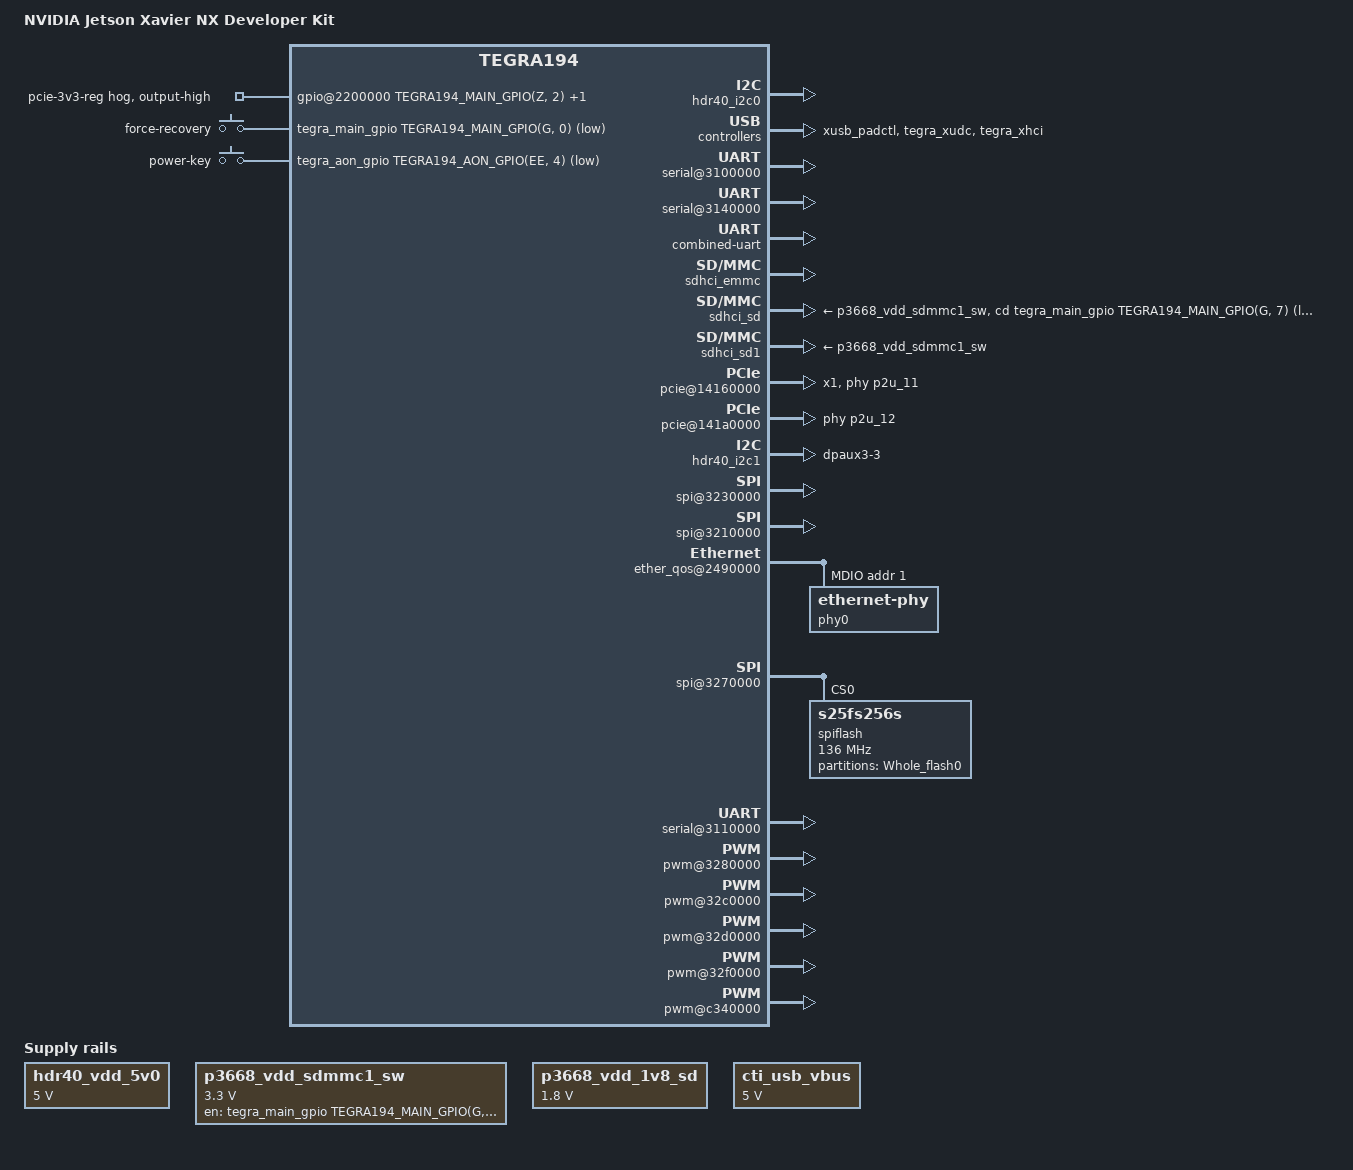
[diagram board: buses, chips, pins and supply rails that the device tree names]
/*
 * Top level DTS file for CVM:P3668-0001 and CVB:P3509-0000.
 *
 * Copyright (c) 2019-2020, NVIDIA CORPORATION.  All rights reserved.
 *
 * This program is free software; you can redistribute it and/or modify
 * it under the terms of the GNU General Public License as published by
 * the Free Software Foundation; version 2 of the License.
 *
 * This program is distributed in the hope that it will be useful, but WITHOUT
 * ANY WARRANTY; without even the implied warranty of MERCHANTABILITY or
 * FITNESS FOR A PARTICULAR PURPOSE.  See the GNU General Public License for
 * more details.
 */
 
 
/dts-v1/;

#include "dt-bindings/input/input.h"
#include "dt-bindings/extcon-ids.h"
#include "dt-bindings/gpio/tegra194-gpio.h"
#include <dt-bindings/pwm/pwm.h>

#include <tegra194-soc/tegra194-soc-cvm.dtsi>
//#include "common/tegra194-fixed-regulator-p3668.dtsi"
//#include <t19x-common-platforms/tegra194-comms.dtsi>
//#include "common/tegra194-plugin-manager-p3668.dtsi"
#include <t19x-common-platforms/tegra194-platforms-eqos.dtsi>
#include "common/tegra194-powermon-p3668.dtsi"
#include "common/tegra194-power-tree-p3668.dtsi"
#include "common/tegra194-thermal-p3668.dtsi"


//#include "common/tegra194-fixed-regulator-p3509-0000-a00.dtsi"
#include "common/tegra194-p3509-disp.dtsi"
#include "common/tegra194-audio-p3668.dtsi"
//#include "common/tegra194-super-module-e2614-p3509.dtsi"
//#include "common/tegra194-p3668-p3509-pcie-plugin-manager.dtsi"
#include <t19x-common-platforms/tegra194-no-pll-aon-clock.dtsi>

/ {
	nvidia,fastboot-usb-vid = <0x0955>;
	nvidia,fastboot-usb-pid = <0xee1e>;
	model = "NVIDIA Jetson Xavier NX Developer Kit";
    
    nvidia,dtbbuildtime = __DATE__, __TIME__;
    compatible = "nvidia,p3509-0000-a00+p3668-0000-a01", "nvidia,p3509-0000-a00+p3668-0001-a01", "nvidia,tegra194";

	chosen {
		bootargs ="console=ttyTCU0,115200";
		board-has-eeprom;
		nvidia,tegra-joint_xpu_rail;
	};

    eeprom-manager {
        data-size = <0x100>;
        bus@0 {
            i2c-bus = <&gen1_i2c>;
            eeprom@0 {
                slave-address = <0x50>;
                label = "cvm";
            };
        };
    };


	pmc@c370000 {
		nvidia,invert-interrupt;
	};

    pmc@c360000 {
     iopad_defaults: iopad-defaults {
             sdmmc-io-pads {
                     pins = "sdmmc1-hv", "sdmmc3-hv";
                     nvidia,enable-voltage-switching;
             };
         };
     };

	
		 
	hdr40_i2c0: i2c@c240000 {
        status = "okay";
	};

	external-connection {
		vbus_id_extcon: extcon@1 {
			compatible = "extcon-gpio-states";
			reg = <0x1>;
			extcon-gpio,name = "VBUS";
			extcon-gpio,cable-states = <
						0x0 0x1
						0x1 0x0>;
			gpios = <&tegra_main_gpio TEGRA194_MAIN_GPIO(Z, 1) 0>;
			extcon-gpio,out-cable-names = <EXTCON_USB EXTCON_USB_HOST EXTCON_NONE>;
			wakeup-source;
			#extcon-cells = <1>;
		};
	};

	xusb_padctl: xusb_padctl@3520000 {
		status = "okay";

		pads {
			usb2 {
				lanes {
					usb2-0 {
						nvidia,function = "xusb";
						status = "okay";
					};
					usb2-1 {
						nvidia,function = "xusb";
						status = "okay";
					};
					usb2-2 {
						nvidia,function = "xusb";
						status = "okay";
					};
				};
			};
			usb3 {
				lanes {
					usb3-2 {
						nvidia,function = "xusb";
						status = "okay";
					};
				};
			};
		};

		ports {
			usb2-0 {
				mode = "host";
				status = "okay";
			};
			usb2-1 {
				mode = "host";
				status = "okay";
			};
			usb2-2 {
				mode = "host";
				vbus-supply = <&battery_reg>;
				status = "okay";
			};
			usb3-2 {
				nvidia,usb2-companion = <1>;
				status = "okay";
			};
		};
	};

	tegra_xudc: xudc@3550000 {
		extcon-cables = <&vbus_id_extcon 0>;
		extcon-cable-names = "vbus";
		#extcon-cells = <1>;
		phys = <&{/xusb_padctl@3520000/pads/usb2/lanes/usb2-0}>;
		phy-names = "usb2";
		nvidia,xusb-padctl = <&xusb_padctl>;
		nvidia,boost_cpu_freq = <1200>;
		status = "okay";
	};

	tegra_xhci: xhci@3610000 {
		extcon-cables = <&vbus_id_extcon 1>;
		extcon-cable-names = "id";
		#extcon-cells = <1>;
		phys = <&{/xusb_padctl@3520000/pads/usb2/lanes/usb2-0}>,
			<&{/xusb_padctl@3520000/pads/usb2/lanes/usb2-1}>,
			<&{/xusb_padctl@3520000/pads/usb2/lanes/usb2-2}>,
			<&{/xusb_padctl@3520000/pads/usb3/lanes/usb3-2}>;
		phy-names = "usb2-0", "usb2-1", "usb2-2", "usb3-2";
		nvidia,xusb-padctl = <&xusb_padctl>;
		status = "okay";
	};

	/* Below node can be moved to cvb to make decision about enabling/disabling */
	arm-pmu {
		status = "okay";
	};

	power-domain {
		status = "okay";
	};

	interrupt-controller {
		status = "okay";
	};

	mods-simple-bus {
		status = "okay";
	};

	cpuidle {
		compatible = "nvidia,tegra19x-cpuidle";
		status = "okay";
	};

	thermal-zones {
		status = "okay";
	};

	reserved-memory {
		ramoops_carveout {
			status = "okay";
		};
	};

	mttcan@c310000 {
		status = "disabled";
		pll_source = "pllc";
		clocks = <&bpmp_clks TEGRA194_CLK_CAN1_CORE>,
			<&bpmp_clks TEGRA194_CLK_CAN1_HOST>,
			<&bpmp_clks TEGRA194_CLK_CAN1>,
			<&bpmp_clks TEGRA194_CLK_PLLC>;
		clock-names = "can_core", "can_host","can", "pllc";
	};

	mttcan@c320000 {
		status = "disabled";
	};

	host1x {
		dpaux@155F0000 {
			status = "okay";
			compatible = "nvidia,tegra194-dpaux3-padctl";
			/delete-property/ power-domains;
			dpaux_default: pinmux@0 {
				dpaux3_pins {
					pins = "dpaux3-3";
					function = "i2c";
				};
			};
		};
	};

	hardwood {
		compatible = "nvidia,denver-hardwood";
		interrupts = <0 24 0x4>;
	};

	pfsd {
		pwm_polarity= <PWM_POLARITY_NORMAL>;
		suspend_state = <0>;
	};

	serial@3100000 {
		compatible = "nvidia,tegra186-hsuart";
		status = "okay";
	};

	serial@3140000 {
		compatible = "nvidia,tegra186-hsuart";
		status = "okay";
	};

	combined-uart {
		console-port;
		combined-uart;
		status = "okay";
	};

	

	sdhci_emmc: sdhci@3460000 {
		uhs-mask = <0x0>;
		nvidia,enable-hwcq;
		status = "okay";
	};

	sdhci_sd: sdhci@3400000 {
		mmc-ocr-mask = <0x0>;
		cd-inverted;
		cd-gpios = <&tegra_main_gpio TEGRA194_MAIN_GPIO(G, 7) 0>;
		//cd-gpios = <&tegra_main_gpio TEGRA194_MAIN_GPIO(BB, 0) 0>;
		nvidia,cd-wakeup-capable;
		mmc-ocr-mask = <0>;
		cd-inverted;
		vmmc-supply = <&p3668_vdd_sdmmc1_sw>;
		status = "okay";
	};

     sdhci_sd1: sdhci@3440000 {
        status = "okay";
        keep-power-in-suspend;
        /delete-property/ non-removable;
        /delete-property/ mmc-ddr-1_8v;
        mmc-ocr-mask = <0>;
        sd-uhs-sdr104;
        sd-uhs-sdr50;
        sd-uhs-sdr25;
        sd-uhs-sdr12;
        uhs-mask = <0x8>;
        max-clk-limit = <208000000>;
        tap-delay = <3>;
        cd-inverted;
        nvidia,cd-wakeup-capable;
        vmmc-supply = <&p3668_vdd_sdmmc1_sw>;
        nvidia,qvmmc-always-on;
    };

	mipical@3990000 {
		status = "okay";
	};

	tegra-hsp@b950000 {
		status = "okay";
	};

	rtcpu@bc00000 {
		status = "okay";
		nvidia,cmd-timeout = <2000>;
	};

	gpio@c2f0000 {
		pex-refclk-sel-low {
			gpio-hog;
			output-low;
			gpios = <TEGRA194_AON_GPIO(AA, 5) 0>;
			label = "pex_refclk_sel_low";
			status = "disabled";
		};

		pex-refclk-sel-high {
			gpio-hog;
			output-high;
			gpios = <TEGRA194_AON_GPIO(AA, 5) 0>;
			label = "pex_refclk_sel_high";
			status = "disabled";
		};
	};

	gpio@2200000 {
		pcie-reg-enable {
			gpio-hog;
			gpios = <TEGRA194_MAIN_GPIO(Z, 2) GPIO_ACTIVE_HIGH
				 TEGRA194_MAIN_GPIO(A, 1) GPIO_ACTIVE_LOW>;
			label = "pcie-3v3-reg", "pcie-12v-reg";
			output-high;
			status = "okay";
		};
	};

	pcie@14160000 {
		status = "okay";

		nvidia,pex-wake = <&tegra_main_gpio TEGRA194_MAIN_GPIO(L, 2)
					GPIO_ACTIVE_HIGH>;
		vddio-pex-ctl-supply = <&p3668_spmic_sd3>;
		nvidia,disable-aspm-states = <0xf>;
		nvidia,enable-power-down;
		nvidia,max-speed = <3>;

		num-lanes = <1>;
		phys = <&p2u_11>;
		phy-names = "pcie-p2u-0";
	};

	pcie@141a0000 {
		status = "okay";

		vddio-pex-ctl-supply = <&p3668_spmic_sd3>;
		nvidia,disable-aspm-states = <0xf>;
		nvidia,enable-power-down;
		nvidia,max-speed = <3>;

		phys = <&p2u_12>,
		       <&p2u_13>,
		       <&p2u_14>,
		       <&p2u_15>,
		       <&p2u_16>,
		       <&p2u_17>,
		       <&p2u_18>,
		       <&p2u_19>;

		phy-names = "pcie-p2u-0", "pcie-p2u-1", "pcie-p2u-2", "pcie-p2u-3",
					"pcie-p2u-4", "pcie-p2u-5", "pcie-p2u-6", "pcie-p2u-7";
	};

	pcie_ep@141a0000 {
		status = "disabled";

		nvidia,disable-aspm-states = <0xf>;

		vddio-pex-ctl-supply = <&p3668_spmic_sd3>;

		phys = <&p2u_12>, <&p2u_13>, <&p2u_14>, <&p2u_15>,
			<&p2u_16>, <&p2u_17>, <&p2u_18>, <&p2u_19>;
		phy-names = "pcie-p2u-0", "pcie-p2u-1", "pcie-p2u-2", "pcie-p2u-3",
				"pcie-p2u-4", "pcie-p2u-5", "pcie-p2u-6", "pcie-p2u-7";

		nvidia,pex-rst-gpio = <&tegra_main_gpio TEGRA194_MAIN_GPIO(GG, 1)
					GPIO_ACTIVE_LOW>;
	};


	hdr40_i2c1: i2c@31e0000 {
		pinctrl-names = "default";
		pinctrl-0 = <&dpaux_default>;
	};

	host1x {
		dpaux@155F0000 {
			status = "okay";
			compatible = "nvidia,tegra194-dpaux3-padctl";
			dpaux_default: pinmux@0 {
				dpaux3_pins {
					pins = "dpaux3-3";
					function = "i2c";
				};
			};
		};
	};

	dpaux3 {
		compatible = "nvidia,tegra194-dpaux3-pinctrl";
		status = "okay";
	};

	spi@3230000{
		status = "okay";
	};

	spi@3210000{
		status = "okay";
	};

	spi@3230000 {
		status = "okay";
	};

	ether_qos@2490000 {
		nvidia,phy-reset-gpio = <&tegra_main_gpio TEGRA194_MAIN_GPIO(R, 1) 0>;
		nvidia,phy-reset-post-delay = <72>;
		nvidia,phy-reset-duration = <10000>;
        mdio {
            compatible = "nvidia,eqos-mdio";
            #address-cells = <1>;
            #size-cells = <0>;
            phy0: ethernet-phy@0 {
                reg = <1>;
			};
		};
	};

	/* QSPI flash S25FS128SAGNFI103 is controlled by qspi0 */
	spi@3270000 {
		spi-max-frequency = <136000000>;
		status = "okay";
		prod-settings {
			#prod-cells = <3>;
			prod {
				prod = <0x04 0x000000ff 0x10>;
			};
		};
		/* QSPI NOR */
		spiflash@0 {
			#address-cells = <1>;
			#size-cells = <1>;
			compatible = "s25fs256s";
			reg = <0>;
			spi-max-frequency = <136000000>;
			partition@0 {
				label = "Whole_flash0";
				reg = <0x00000000 0x2000000>;	/* size of QSPI-NOR 32MB == 256Mb */
			};
			controller-data {
				nvidia,x1-len-limit = <16>;
				nvidia,x1-bus-speed = <136000000>; /* In Mhz */
				nvidia,x1-dymmy-cycle = <8>;
				nvidia,x4-bus-speed = <136000000>;
				nvidia,x4-dymmy-cycle = <8>;
				nvidia,x4-is-ddr=<0>;
				nvidia,ctrl-bus-clk-ratio = <1>;
			};
		};
	};
	
	
    gpio-keys {
        compatible = "gpio-keys";
        gpio-keys,name = "gpio-keys";

        forcerecovery {
            label = "force-recovery";
            gpios = <&tegra_main_gpio TEGRA194_MAIN_GPIO(G, 0) GPIO_ACTIVE_LOW>;
            linux,code = <BTN_1>;
        };

        power_key {
            label = "power-key";
            gpios = <&tegra_aon_gpio TEGRA194_AON_GPIO(EE, 4) GPIO_ACTIVE_LOW>;
            linux,code = <KEY_POWER>;
            gpio-key,wakeup;
        };
    };

    pwm-fan {
        pwms = <&tegra_pwm6 0 45334>;
        vdd-fan-supply = <&battery_reg>;
        profiles {
            default = "quiet";
            quiet {
                state_cap = <4>;
                active_pwm = <0 130 160 200 255 255 255 255 255 255>;
            };
            cool {
                state_cap = <4>;
                active_pwm = <0 140 170 200 255 255 255 255 255 255>;
            };
        };
    };
    thermal-fan-est {
        profiles {
            default = "quiet";
            quiet {
                active_trip_temps = <0 46000 60000 68000 76000
                        140000 150000 160000 170000 180000>;
                active_hysteresis = <0 8000 8000 7000 7000
                        0 0 0 0 0>;
            };
            cool {
                active_trip_temps = <0 35000 45000 53000 61000
                        140000 150000 160000 170000 180000>;
                active_hysteresis = <0 8000 8000 7000 7000
                        0 0 0 0 0>;
            };
        };
    };
    serial@3110000 {
        status = "okay";
    };
    tachometer@39c0000 {
        status = "okay";
    };
    pwm@3280000 {
        status = "okay";
    };

    pwm@32c0000 {
        status = "okay";
    };

    pwm@32d0000 {
        status = "okay";
    };

    pwm@32f0000 {
        status = "okay";
    };
	pwm@c340000 {
		status = "okay";
	};
    spi@c260000 {
        status = "disabled";
    };

    spi@3300000 {
        status = "disabled";
    };
    
    i2c@c240000 {
        status = "okay";
        
    };	

    i2c@31e0000 {
        status = "okay";
    };
	
	soctherm-oc-event {
		status = "okay";
	};

    fixed-regulators {
        hdr40_vdd_5v0: battery_reg: regulator@0 {
            compatible = "regulator-fixed";
            reg = <0>;
            regulator-name = "vdd-ac-bat";
            regulator-min-microvolt = <5000000>;
            regulator-max-microvolt = <5000000>;
            regulator-always-on;
        };

        p3668_vdd_sdmmc1_sw: regulator@106 {
            compatible = "regulator-fixed";
            reg = <106>;
            regulator-name = "vdd-sdmmc1-sw";
            regulator-min-microvolt = <3300000>;
            regulator-max-microvolt = <3300000>;
            gpio = <&tegra_main_gpio TEGRA194_MAIN_GPIO(G, 2) 0>;
            enable-active-high;
        };

        p3668_vdd_1v8_sd: regulator@104 {
            compatible = "regulator-fixed";
            reg = <104>;
            regulator-name = "vdd-1v8-sd";
            regulator-min-microvolt = <1800000>;
            regulator-max-microvolt = <1800000>;
            enable-active-high;
        };
        regulator@114 {

            /delete-property/ gpio;
            /delete-property/ enable-active-high;
            regulator-always-on;


        };
        cti_usb_vbus: regulator@200 {
            compatible = "regulator-fixed";
            reg = <200>;
            status = "okay";
            regulator-name = "cti-usb-vbus";
            regulator-min-microvolt = <5000000>;
            regulator-max-microvolt = <5000000>;
        };

    };




    plugin-manager {
        fragement-pmic-wdt-en {
            odm-data = "enable-pmic-wdt";
            override@0 {
                target = <&p3668_spmic_wdt>;
                _overlay_ {
                    status = "okay";
                };
            };
        };

        fragement-tegra-wdt-en {
            odm-data = "enable-denver-wdt";
            override@0 {
                target = <&tegra_wdt>;
                _overlay_ {
                    status = "okay";
                };
            };
        };

        fragement-tegra-wdt-dis {
            odm-data = "disable-denver-wdt";
            override@0 {
                target = <&tegra_pmc>;
                _overlay_ {
                    nvidia,enable-halt-in-fiq;
                };
            };
        };

    };
};

&head0 {

    vdd_hdmi_5v0-supply = <&battery_reg>;

};

&head1 {

    vdd_hdmi_5v0-supply = <&battery_reg>;

};


#if LINUX_VERSION >= 414
#include <tegra194-linux-4.14.dtsi>
#endif


